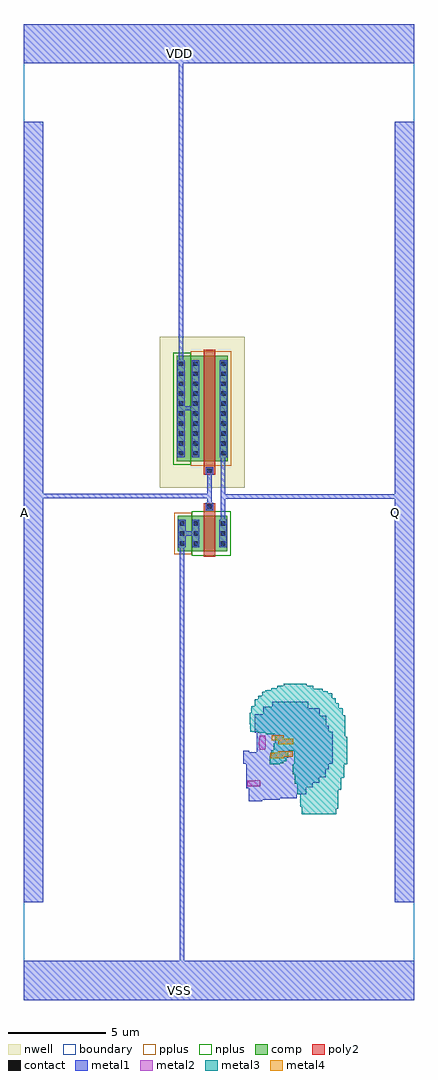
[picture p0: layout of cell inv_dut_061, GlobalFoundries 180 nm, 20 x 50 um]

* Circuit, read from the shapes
.subckt inv_dut_061 A Q VDD VSS
XM1 Q A VSS VSS nfet_03v3 w=1.8u l=0.6u
XM2 Q A VDD VDD pfet_03v3 w=5.4u l=0.6u
.ends

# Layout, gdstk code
from math import pi, radians
import gdstk
lib = gdstk.Library(unit=1e-6, precision=1e-09)
def R(c, l, rs):  # rectangles x0, y0, x1, y1
    for r in rs: c.add(gdstk.rectangle(r[:2], r[2:], *l))
def A(c, l, x, y, w, h, nx, ny, dx, dy):  # array of equal rectangles
    R(c, l, [(x+i*dx, y+j*dy, x+i*dx+w, y+j*dy+h) for i in range(nx) for j in range(ny)])
def P(c, l, *ps):  # polygons
    for p in ps: c.add(gdstk.Polygon(p, *l))
boundary = (0, 0)
nwell = (21, 0)
comp = (22, 0)
poly2 = (30, 0)
pplus = (31, 0)
nplus = (32, 0)
contact = (33, 0)
metal1 = (34, 0)
metal2 = (36, 0)
metal3 = (42, 0)
metal4 = (46, 0)

pfet = lib.new_cell('pfet')
R(pfet, nwell, [(-1.32,-0.99,3.03,6.77)])
R(pfet, comp, [(-0.46,0,2.17,5.4)])
R(pfet, poly2, [(0.19,-0.3,0.79,6.08)])
R(pfet, pplus, [(-0.63,-0.24,1.44,5.64)])
R(pfet, nplus, [(1.44,-0.17,2.34,5.57)])
A(pfet, contact, -0.34, 0.295, 0.22, 0.22, 1, 10, 0, 0.51)
A(pfet, contact, 1.1, 0.295, 0.22, 0.22, 1, 10, 0, 0.51)
A(pfet, contact, 1.83, 0.295, 0.22, 0.22, 1, 10, 0, 0.51)
R(pfet, contact, [(0.38,5.78,0.6,6)])
R(pfet, metal1, [(-0.42,0.215,-0.04,5.185), (1.02,0.215,1.4,5.185), (1.75,0.215,2.13,5.185), (0.3,5.7,0.68,6.08)])

nfet = lib.new_cell('nfet')
R(nfet, comp, [(-0.42,0,2.11,1.8)])
R(nfet, poly2, [(0.19,-0.3,0.79,2.46)])
R(nfet, pplus, [(1.4,-0.17,2.28,1.97)])
R(nfet, nplus, [(-0.59,-0.24,1.4,2.04)])
A(nfet, contact, -0.32, 0.28, 0.22, 0.22, 1, 3, 0, 0.51)
A(nfet, contact, 1.08, 0.28, 0.22, 0.22, 1, 3, 0, 0.51)
A(nfet, contact, 1.79, 0.28, 0.22, 0.22, 1, 3, 0, 0.51)
R(nfet, contact, [(0.38,2.17,0.6,2.39)])
R(nfet, metal1, [(-0.4,0.2,-0.02,1.6), (1,0.2,1.38,1.6), (1.71,0.2,2.09,1.6), (0.3,2.09,0.68,2.47)])

inv_dut_061 = lib.new_cell('inv_dut_061')
R(inv_dut_061, boundary, [(-10,-25,10,25)])
R(inv_dut_061, metal1, [(-10,-25,10,-23), (-10,-20,-9,20), (9,-20,10,20), (-10,23,10,25)])
P(inv_dut_061, metal1, [(1.53,-14.82),(1.53,-14.14),(1.385,-14.14),(1.385,-12.895),(1.235,-12.895),(1.235,-12.235),(1.555,-12.235),(1.555,-12.31),(1.945,-12.31),(1.945,-11.31),(1.825,-11.31),(1.825,-10.355),(2.26,-10.355),(2.26,-9.965),(2.72,-9.965),(2.72,-9.725),(4.56,-9.725),(4.56,-10.065),(5.165,-10.065),(5.165,-10.43),(5.505,-10.43),(5.505,-10.955),(5.625,-10.955),(5.625,-11.25),(5.84,-11.25),(5.84,-12.885),(5.625,-12.885),(5.625,-13.19),(5.46,-13.19),(5.46,-13.6),(5.14,-13.6),(5.14,-13.87),(4.8,-13.87),(4.8,-14.09),(4.46,-14.09),(4.46,-14.455),(3.995,-14.455),(3.995,-14.675),(3.115,-14.675),(3.115,-14.75),(2.215,-14.75),(2.215,-14.82)])
P(inv_dut_061, metal2, [(2.09,-12.175),(2.09,-12.085),(2.04,-12.085),(2.04,-11.58),(2.09,-11.58),(2.09,-11.475),(2.37,-11.475),(2.37,-11.565),(2.405,-11.565),(2.405,-12.07),(2.37,-12.07),(2.37,-12.175)],
  [(1.44,-14.05),(1.44,-13.77),(1.84,-13.77),(1.84,-13.73),(2.12,-13.73),(2.12,-14.05)])
P(inv_dut_061, metal3, [(4.25,-15.48),(4.25,-15.09),(4.15,-15.09),(4.15,-14.455),(4.015,-14.455),(4.015,-13.91),(3.88,-13.91),(3.88,-13.445),(3.79,-13.445),(3.79,-12.91),(3.85,-12.91),(3.85,-12.24),(3.555,-12.24),(3.555,-12.585),(3.445,-12.585),(3.445,-12.775),(3.28,-12.775),(3.28,-12.86),(3.1,-12.86),(3.1,-12.925),(2.595,-12.925),(2.595,-12.505),(2.665,-12.505),(2.665,-12.21),(2.815,-12.21),(2.815,-11.84),(2.875,-11.84),(2.875,-11.385),(2.405,-11.385),(2.405,-11.305),(1.99,-11.305),(1.99,-11.26),(1.595,-11.26),(1.595,-10.885),(1.565,-10.885),(1.565,-10.275),(1.645,-10.275),(1.645,-9.95),(1.83,-9.95),(1.83,-9.59),(2.02,-9.59),(2.02,-9.415),(2.21,-9.415),(2.21,-9.21),(2.375,-9.21),(2.375,-9.14),(2.675,-9.14),(2.675,-9.025),(2.99,-9.025),(2.99,-8.905),(3.325,-8.905),(3.325,-8.81),(4.485,-8.81),(4.485,-8.905),(4.835,-8.905),(4.835,-9.045),(5.325,-9.045),(5.325,-9.18),(5.575,-9.18),(5.575,-9.275),(5.805,-9.275),(5.805,-9.55),(5.985,-9.55),(5.985,-9.805),(6.14,-9.805),(6.14,-10.055),(6.345,-10.055),(6.345,-10.415),(6.47,-10.415),(6.47,-11.51),(6.565,-11.51),(6.565,-12.93),(6.425,-12.93),(6.425,-13.605),(6.25,-13.605),(6.25,-14.24),(6.105,-14.24),(6.105,-15.19),(6.015,-15.19),(6.015,-15.48)])
P(inv_dut_061, metal4, [(3.04,-11.9),(3.04,-11.705),(2.69,-11.705),(2.69,-11.425),(3.32,-11.425),(3.32,-11.62),(3.805,-11.62),(3.805,-11.9)],
  [(2.625,-12.62),(2.625,-12.34),(3.04,-12.34),(3.04,-12.265),(3.78,-12.265),(3.78,-12.545),(3.32,-12.545),(3.32,-12.62)])
inv_dut_061.add(gdstk.FlexPath([(-0.49,2.11),(-0.49,0.27)], 0.23, ends="flush", simple_path=True, layer=34, datatype=0))  # metal1
inv_dut_061.add(gdstk.FlexPath([(-0.49,0.815),(-9.325,0.815)], 0.23, ends="flush", simple_path=True, layer=34, datatype=0))  # metal1
inv_dut_061.add(gdstk.FlexPath([(-1.94,7.615),(-1.94,23.35)], 0.23, ends="flush", simple_path=True, layer=34, datatype=0))  # metal1
inv_dut_061.add(gdstk.FlexPath([(-1.22,5.315),(-1.96,5.315)], 0.23, ends="flush", simple_path=True, layer=34, datatype=0))  # metal1
inv_dut_061.add(gdstk.FlexPath([(-1.89,-1.615),(-1.89,-24.195)], 0.23, ends="flush", simple_path=True, layer=34, datatype=0))  # metal1
inv_dut_061.add(gdstk.FlexPath([(0.215,3.17),(0.215,-0.78)], 0.23, ends="flush", simple_path=True, layer=34, datatype=0))  # metal1
inv_dut_061.add(gdstk.FlexPath([(0.215,0.805),(9.53,0.805)], 0.23, ends="flush", simple_path=True, layer=34, datatype=0))  # metal1
inv_dut_061.add(gdstk.FlexPath([(-1.215,-1.105),(-1.91,-1.105)], 0.23, ends="flush", simple_path=True, layer=34, datatype=0))  # metal1
inv_dut_061.add(gdstk.Reference(pfet, (0,8), rotation=pi))
inv_dut_061.add(gdstk.Reference(nfet, (0,-2), rotation=pi, x_reflection=True))
inv_dut_061.add(gdstk.Label('VDD', (-2,23.5), layer=34, texttype=10))
inv_dut_061.add(gdstk.Label('VSS', (-2,-24.5), layer=34, texttype=10))
inv_dut_061.add(gdstk.Label('A', (-9.97,0), layer=34, texttype=10))
inv_dut_061.add(gdstk.Label('Q', (9.03,0), layer=34, texttype=10))

lib.write_gds('inv_dut_061.gds')
